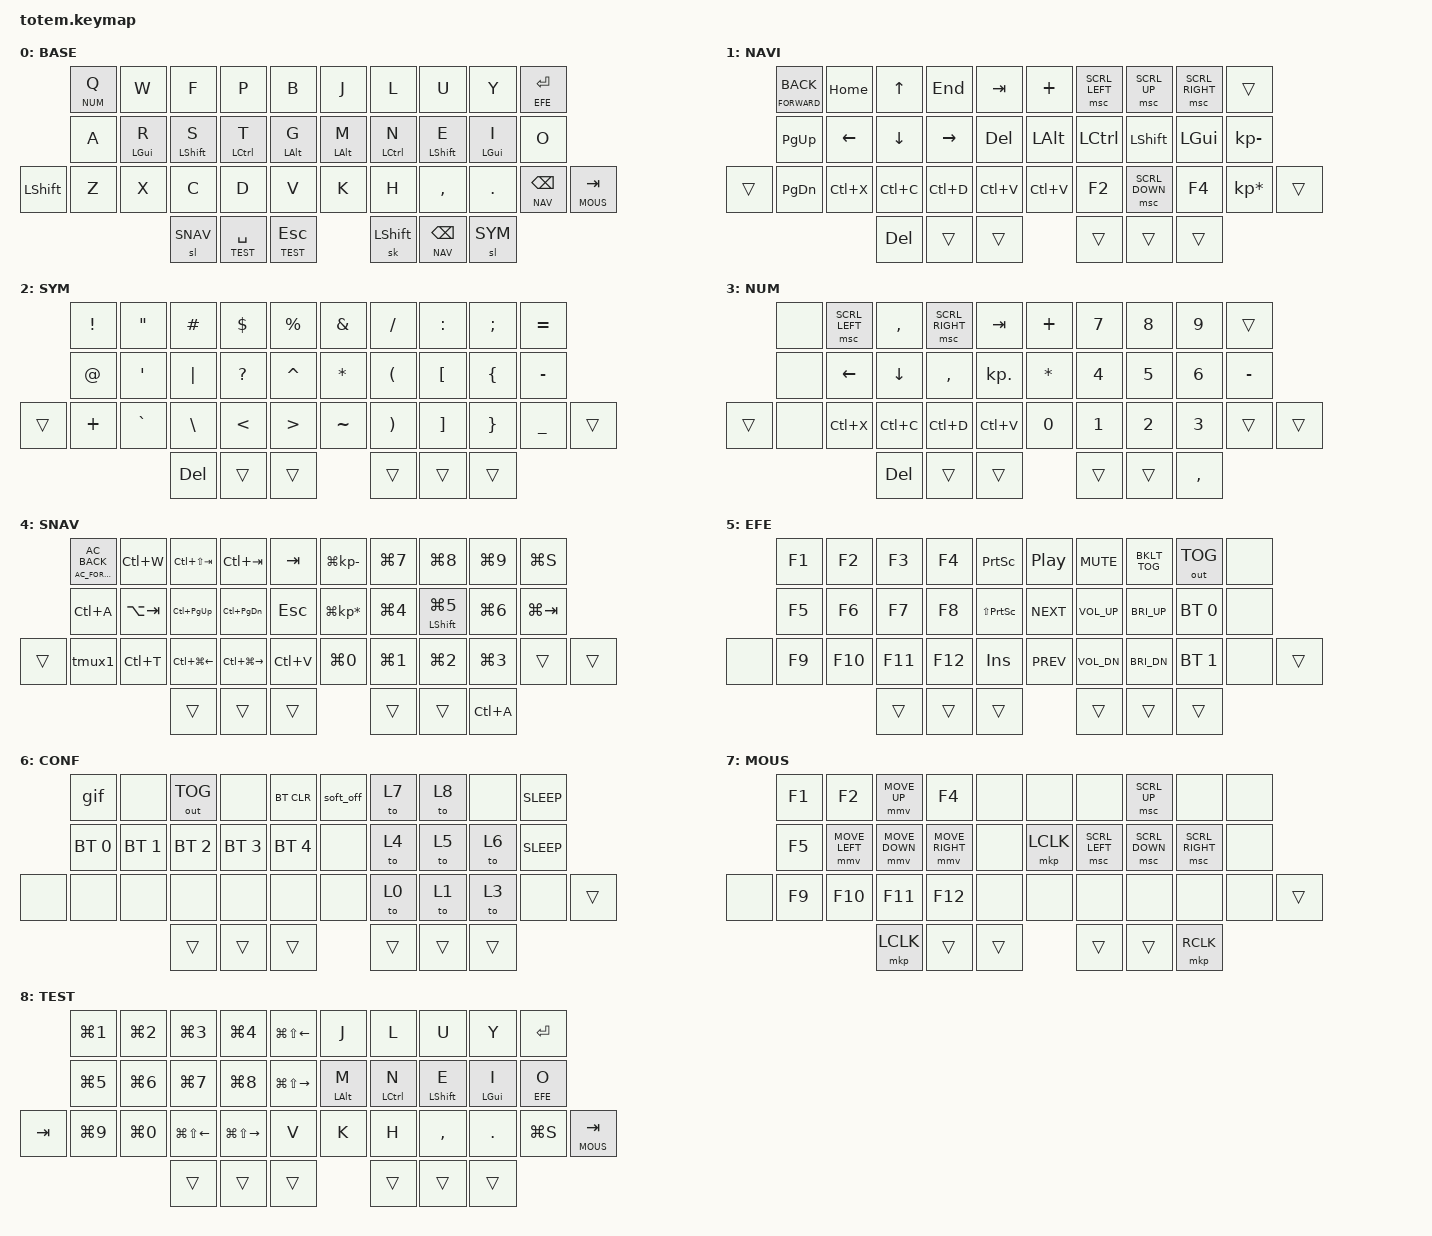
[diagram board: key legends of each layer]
//
//                                                        ▀▀▀▀▀     ▀▀▀▀▀          ▀▀█▀▀
//                                                        ▄▀▀▀▄  ▄  ▄▀▀▀▄  ▄  ▄▀▀▀▄  █  ▄▀▀▀▄
//                                                        █   █  █  █   █  █  █   █  █  █   █
//                                                         ▀▀▀   █   ▀▀▀   █   ▀▀▀   ▀   ▀▀▀
//                                                               █      ▄▄▄█▄▄▄    █   █  
//                                                               ▀      █  █  █     █▄█
//                                                             ▀▀▀▀▀    █  █  █      ▀
//                                                                      ▀  ▀  ▀
//
// ▄▄▄▄▄▄▄▄▄▄▄▄▄▄▄▄▄▄▄▄▄▄▄▄▄▄▄▄▄▄▄▄▄▄▄▄▄▄▄▄▄▄▄▄▄▄▄▄▄▄▄▄▄▄▄▄▄▄▄▄▄▄▄▄▄▄▄▄▄▄▄▄▄▄▄▄▄▄▄▄▄▄▄▄▄▄▄▄▄▄▄▄▄▄▄▄▄▄▄▄▄▄▄▄▄▄▄▄▄▄▄▄▄▄▄▄▄▄▄▄▄▄▄▄▄▄▄▄▄▄▄▄▄▄▄▄▄▄▄▄▄▄▄▄▄▄▄▄▄
       


#define ZMK_POINTING_DEFAULT_MOVE_VAL 1500  // default: 600
#define ZMK_POINTING_DEFAULT_SCRL_VAL 20    // default: 10

#include <behaviors.dtsi>
#include <dt-bindings/zmk/keys.h>
#include <dt-bindings/zmk/bt.h>
#include <dt-bindings/zmk/outputs.h>
#include <dt-bindings/zmk/pointing.h>

#define BASE 0
#define NAV  1
#define SYM  2
#define NUM  3
#define SNAV 4
#define EFE  5
#define CONF 6
#define MOUS 7
#define TEST 8

&mt {
  quick-tap-ms = <150>;
  flavor = "balanced";
  tapping-term-ms = <180>;
};

&lt {
  quick-tap-ms = <150>;
  flavor = "balanced";
  tapping-term-ms = <170>;
};

&sk {
    release-after-ms = <2000>;
    quick-release;
    lazy;
};

&sl {
    release-after-ms = <500>;
    //lazy;
};

/ {
    
    //kscan: kscan {
    //    compatible = "zmk,kscan-gpio-matrix";
    //    diode-direction = "col2row";
    //    wakeup-source;
    //};

    combos {
        compatible = "zmk,combos";
        combo_config {
            timeout-ms = <50>;
            key-positions = <32 37>;
            bindings = <&sl CONF>;
        };
        combo_sleep {
            timeout-ms = <50>;
            key-positions = <33 36>;
            bindings = <&sleep>;
            layers = <CONF>;
        };
        combo_scratchpad {
            timeout-ms = <13>;
            key-positions = <11 12>;
            bindings = <&kp LG(S)>;
            layers = <BASE>;
        };
        combo_save {
            timeout-ms = <10>;
            key-positions = <33 36>;
            bindings = <&kp LC(S)>;
            layers = <BASE>;
        };
        /* combo_cbackspace { */
        /*     timeout-ms = <10>; */
        /*     key-positions = <16 36>; */
        /*     bindings = <&kp LC(BSPC)>; */
        /*     layers = <BASE>; */
        /* }; */
        combo_switchtmuxsession {
            timeout-ms = <12>;
            key-positions = <1 2>;
            bindings = <&tmux2>;
            layers = <BASE>;
        };
    };

    macros {
        gif: gif {
            label = "giphy";
            compatible = "zmk,behavior-macro";
            #binding-cells = <0>;
            bindings
                = <&macro_tap &kp A &kp S &kp D &kp Q &kp W &kp E &kp A &kp S &kp D>
                , <&macro_tap &kp ENTER>;
        };
        sleep: sleep {
            compatible = "zmk,behavior-macro";
            #binding-cells = <0>;
            bindings
                = <&macro_tap &kp K_SLEEP &soft_off>
                ;
        };
        tmux1: tmux1 {
            compatible = "zmk,behavior-macro";
            #binding-cells = <0>;
            bindings
                = <&macro_tap &kp LC(A) &kp LS(L)>
                ;
        };
        tmux2: tmux2 {
            compatible = "zmk,behavior-macro";
            #binding-cells = <0>;
            bindings
                = <&macro_tap &kp LC(A) &kp S &sl NUM>
                ;
        };
    };

    behaviors {
        td0: tap_dance_0 {
            compatible = "zmk,behavior-tap-dance";
            #binding-cells = <0>;
            tapping-term-ms = <200>;
            bindings = <&kp N1>, <&kp N2>, <&kp N3>;
        };
        rpi: require_prior_idle {
            compatible = "zmk,behavior-hold-tap";
            #binding-cells = <2>;
            flavor = "tap-preferred";
            tapping-term-ms = <200>;
            quick-tap-ms = <200>;
            require-prior-idle-ms = <125>;
            bindings = <&kp>, <&kp>;
        };
    };

    keymap {
                compatible = "zmk,keymap";
// ▄▄▄▄▄▄▄▄▄▄▄▄▄▄▄▄▄▄▄▄▄▄▄▄▄▄▄▄▄▄▄▄▄▄▄▄▄▄▄▄▄▄▄▄▄▄▄▄▄▄▄▄▄▄▄▄▄▄▄▄▄▄▄▄▄▄▄▄▄▄▄▄▄▄▄▄▄▄▄▄▄▄▄▄▄▄▄▄▄▄▄▄▄▄▄▄▄▄▄▄▄▄▄▄▄▄▄▄▄▄▄▄▄▄▄▄▄▄▄▄▄▄▄▄▄▄▄▄▄▄▄▄▄▄▄▄▄▄▄▄▄▄▄▄▄▄▄▄▄

                base_layer {
// ┏━━━━━━━━━━━━━━━━━━━━━━━━━━━━━━━━━━━━━━━┓0
label= "BASE"                              ;
// ┗━━━━━━━━━━━━━━━━━━━━━━━━━━━━━━━━━━━━━━━┛
//             ┏━━━━━━━━━━━┳━━━━━━━━━━━┳━━━━━━━━━━━┳━━━━━━━━━━━┳━━━━━━━━━━━┓   ┏━━━━━━━━━━━┳━━━━━━━━━━━┳━━━━━━━━━━━┳━━━━━━━━━━━┳━━━━━━━━━━━┓
//             ┃     0     ┃     1     ┃     2     ┃     3     ┃     4     ┃   ┃     5     ┃     6     ┃     7     ┃     8     ┃     9     ┃
//             ┣━━━━━━━━━━━╋━━━━━━━━━━━╋━━━━━━━━━━━╋━━━━━━━━━━━╋━━━━━━━━━━━┫   ┣━━━━━━━━━━━╋━━━━━━━━━━━╋━━━━━━━━━━━╋━━━━━━━━━━━╋━━━━━━━━━━━┫
//             ┃    10     ┃     11    ┃     12    ┃     13    ┃     14    ┃   ┃     15    ┃     16    ┃     17    ┃     18    ┃     19    ┃
// ┏━━━━━━━━━━━╋━━━━━━━━━━━╋━━━━━━━━━━━╋━━━━━━━━━━━╋━━━━━━━━━━━╋━━━━━━━━━━━┫   ┣━━━━━━━━━━━╋━━━━━━━━━━━╋━━━━━━━━━━━╋━━━━━━━━━━━╋━━━━━━━━━━━╋━━━━━━━━━━━┓
// ┃     20    ┃     21    ┃     22    ┃     23    ┃    24     ┃    25     ┃   ┃     26    ┃     M     ┃     ,     ┃     .     ┃     /     ┃    31     ┃
// ┗━━━━━━━━━━━┻━━━━━━━━━━━┻━━━━━━━━━━━╋━━━━━━━━━━━╋━━━━━━━━━━━╋━━━━━━━━━━━┫   ┣━━━━━━━━━━━╋━━━━━━━━━━━╋━━━━━━━━━━━╋━━━━━━━━━━━┻━━━━━━━━━━━┻━━━━━━━━━━━┛
//                                     ┃    32     ┃    33     ┃    34     ┃   ┃     35    ┃     36    ┃     37    ┃
//                                     ┗━━━━━━━━━━━┻━━━━━━━━━━━┻━━━━━━━━━━━┛   ┗━━━━━━━━━━━┻━━━━━━━━━━━┻━━━━━━━━━━━┛
 bindings = <
// ╷           ╷           ╷           ╷           ╷           ╷           ╷   ╷           ╷           ╷           ╷           ╷           ╷           ╷
                &lt NUM Q   &kp W       &kp F       &kp P       &kp B           &kp J       &kp L       &kp U       &kp Y       &lt EFE RET
                &kp A       &mt LGUI R  &mt LSHFT S &mt LCTRL T &mt LALT G      &mt LALT M  &mt LCTRL N &mt LSHFT E &mt LGUI I  &kp O
    &kp LSHFT   &kp Z       &kp X       &kp C       &kp D       &kp V           &kp K       &kp H       &kp COMMA   &kp DOT     &lt NAV BSPC    &lt MOUS TAB
                                        &sl SNAV    &lt TEST SPACE   &lt TEST ESC     &sk LSHFT   &lt NAV BSPC &sl SYM
                        >;
                };

// ▄▄▄▄▄▄▄▄▄▄▄▄▄▄▄▄▄▄▄▄▄▄▄▄▄▄▄▄▄▄▄▄▄▄▄▄▄▄▄▄▄▄▄▄▄▄▄▄▄▄▄▄▄▄▄▄▄▄▄▄▄▄▄▄▄▄▄▄▄▄▄▄▄▄▄▄▄▄▄▄▄▄▄▄▄▄▄▄▄▄▄▄▄▄▄▄▄▄▄▄▄▄▄▄▄▄▄▄▄▄▄▄▄▄▄▄▄▄▄▄▄▄▄▄▄▄▄▄▄▄▄▄▄▄▄▄▄▄▄▄▄▄▄▄▄▄▄▄▄

                nav_layer {
// ┏━━━━━━━━━━━━━━━━━━━━━━━━━━━━━━━━━━━━━━━┓1
label= "NAVI"                              ;
// ┗━━━━━━━━━━━━━━━━━━━━━━━━━━━━━━━━━━━━━━━┛
//             ┏━━━━━━━━━━━┳━━━━━━━━━━━┳━━━━━━━━━━━┳━━━━━━━━━━━┳━━━━━━━━━━━┓   ┏━━━━━━━━━━━┳━━━━━━━━━━━┳━━━━━━━━━━━┳━━━━━━━━━━━┳━━━━━━━━━━━┓
//             ┃           ┃           ┃     UP    ┃           ┃     {     ┃   ┃     }     ┃     7     ┃     8     ┃     9     ┃     +     ┃
//             ┣━━━━━━━━━━━╋━━━━━━━━━━━╋━━━━━━━━━━━╋━━━━━━━━━━━╋━━━━━━━━━━━┫   ┣━━━━━━━━━━━╋━━━━━━━━━━━╋━━━━━━━━━━━╋━━━━━━━━━━━╋━━━━━━━━━━━┫
//             ┃   SHIFT   ┃   LEFT    ┃    DOWN   ┃   RIGHT   ┃     [     ┃   ┃     ]     ┃     4     ┃     5     ┃     6     ┃     -     ┃
// ┏━━━━━━━━━━━╋━━━━━━━━━━━╋━━━━━━━━━━━╋━━━━━━━━━━━╋━━━━━━━━━━━╋━━━━━━━━━━━┫   ┣━━━━━━━━━━━╋━━━━━━━━━━━╋━━━━━━━━━━━╋━━━━━━━━━━━╋━━━━━━━━━━━╋━━━━━━━━━━━┓
// ┃           ┃           ┃   P UP    ┃  C LOCK   ┃  P DOWN   ┃     (     ┃   ┃     )     ┃     1     ┃     2     ┃     3     ┃     *     ┃           ┃
// ┗━━━━━━━━━━━┻━━━━━━━━━━━┻━━━━━━━━━━━╋━━━━━━━━━━━╋━━━━━━━━━━━╋━━━━━━━━━━━┫   ┣━━━━━━━━━━━╋━━━━━━━━━━━╋━━━━━━━━━━━╋━━━━━━━━━━━┻━━━━━━━━━━━┻━━━━━━━━━━━┛
//                                     ┃           ┃    TAB    ┃    SPC    ┃   ┃    DEL    ┃     0     ┃           ┃
//                                     ┗━━━━━━━━━━━┻━━━━━━━━━━━┻━━━━━━━━━━━┛   ┗━━━━━━━━━━━┻━━━━━━━━━━━┻━━━━━━━━━━━┛
 bindings = <
// ╷           ╷           ╷           ╷           ╷           ╷           ╷   ╷           ╷           ╷           ╷           ╷           ╷           ╷
                &rpi K_FORWARD K_BACK   &kp HOME &kp UP &kp END &kp TAB         &kp PLUS    &msc SCRL_LEFT &msc SCRL_UP &msc SCRL_RIGHT &trans
                &kp PG_UP   &kp LEFT    &kp DOWN    &kp RIGHT   &kp DEL         &kp LALT    &kp LCTRL   &kp LSHFT  &kp LGUI     &kp KP_MINUS
    &trans      &kp PG_DN   &kp LC(X)   &kp LC(C)   &kp LC(D)   &kp LC(V)       &kp LC(V)   &kp F2      &msc SCRL_DOWN &kp F4   &kp KP_MULTIPLY &trans
                                        &kp DEL     &trans      &trans          &trans      &trans      &trans
                        >;
                };

// ▄▄▄▄▄▄▄▄▄▄▄▄▄▄▄▄▄▄▄▄▄▄▄▄▄▄▄▄▄▄▄▄▄▄▄▄▄▄▄▄▄▄▄▄▄▄▄▄▄▄▄▄▄▄▄▄▄▄▄▄▄▄▄▄▄▄▄▄▄▄▄▄▄▄▄▄▄▄▄▄▄▄▄▄▄▄▄▄▄▄▄▄▄▄▄▄▄▄▄▄▄▄▄▄▄▄▄▄▄▄▄▄▄▄▄▄▄▄▄▄▄▄▄▄▄▄▄▄▄▄▄▄▄▄▄▄▄▄▄▄▄▄▄▄▄▄▄▄▄


                sim_layer {
// ┏━━━━━━━━━━━━━━━━━━━━━━━━━━━━━━━━━━━━━━━┓2
label= "SYM"                               ;
// ┗━━━━━━━━━━━━━━━━━━━━━━━━━━━━━━━━━━━━━━━┛
//             ┏━━━━━━━━━━━┳━━━━━━━━━━━┳━━━━━━━━━━━┳━━━━━━━━━━━┳━━━━━━━━━━━┓   ┏━━━━━━━━━━━┳━━━━━━━━━━━┳━━━━━━━━━━━┳━━━━━━━━━━━┳━━━━━━━━━━━┓
//             ┃     !     ┃     @     ┃     #     ┃     $     ┃     %     ┃   ┃     ˆ     ┃     &     ┃     Ü     ┃     '     ┃     "     ┃
//             ┣━━━━━━━━━━━╋━━━━━━━━━━━╋━━━━━━━━━━━╋━━━━━━━━━━━╋━━━━━━━━━━━┫   ┣━━━━━━━━━━━╋━━━━━━━━━━━╋━━━━━━━━━━━╋━━━━━━━━━━━╋━━━━━━━━━━━┫
//             ┃     Ä     ┃           ┃    SZ     ┃           ┃           ┃   ┃   MUTE    ┃   YEN     ┃   EURO    ┃  POUND    ┃     Ö     ┃
// ┏━━━━━━━━━━━╋━━━━━━━━━━━╋━━━━━━━━━━━╋━━━━━━━━━━━╋━━━━━━━━━━━╋━━━━━━━━━━━┫   ┣━━━━━━━━━━━╋━━━━━━━━━━━╋━━━━━━━━━━━╋━━━━━━━━━━━╋━━━━━━━━━━━╋━━━━━━━━━━━┓
// ┃           ┃  EMAIL1   ┃  EMAIL2   ┃           ┃           ┃           ┃   ┃   VOL-    ┃   VOL+    ┃   LAST    ┃   NEXT    ┃     \     ┃           ┃
// ┗━━━━━━━━━━━┻━━━━━━━━━━━┻━━━━━━━━━━━╋━━━━━━━━━━━╋━━━━━━━━━━━╋━━━━━━━━━━━┫   ┣━━━━━━━━━━━╋━━━━━━━━━━━╋━━━━━━━━━━━╋━━━━━━━━━━━┻━━━━━━━━━━━┻━━━━━━━━━━━┛
//                                     ┃           ┃    GIF    ┃    ADJ    ┃   ┃           ┃           ┃           ┃
//                                     ┗━━━━━━━━━━━┻━━━━━━━━━━━┻━━━━━━━━━━━┛   ┗━━━━━━━━━━━┻━━━━━━━━━━━┻━━━━━━━━━━━┛
 bindings = <
// ╷           ╷           ╷           ╷           ╷           ╷           ╷   ╷           ╷           ╷           ╷           ╷           ╷           ╷
                &kp EXCL    &kp DQT     &kp HASH    &kp DOLLAR  &kp PRCNT       &kp AMPS    &kp FSLH    &kp COLON  &kp SEMI    &kp EQUAL
                &kp AT      &kp SQT     &kp PIPE    &kp QMARK   &kp CARET       &kp ASTRK   &kp LPAR    &kp LBKT   &kp LBRC    &kp MINUS
    &trans      &kp PLUS    &kp GRAVE   &kp BSLH    &kp LT      &kp GT          &kp TILDE   &kp RPAR    &kp RBKT   &kp RBRC    &kp UNDER   &trans
                                        &kp DEL     &trans      &trans          &trans      &trans      &trans
                        >;
                };

// ▄▄▄▄▄▄▄▄▄▄▄▄▄▄▄▄▄▄▄▄▄▄▄▄▄▄▄▄▄▄▄▄▄▄▄▄▄▄▄▄▄▄▄▄▄▄▄▄▄▄▄▄▄▄▄▄▄▄▄▄▄▄▄▄▄▄▄▄▄▄▄▄▄▄▄▄▄▄▄▄▄▄▄▄▄▄▄▄▄▄▄▄▄▄▄▄▄▄▄▄▄▄▄▄▄▄▄▄▄▄▄▄▄▄▄▄▄▄▄▄▄▄▄▄▄▄▄▄▄▄▄▄▄▄▄▄▄▄▄▄▄▄▄▄▄▄▄▄▄


                adjust_layer {
// ┏━━━━━━━━━━━━━━━━━━━━━━━━━━━━━━━━━━━━━━━┓3
label= "NUM"                               ;
// ┗━━━━━━━━━━━━━━━━━━━━━━━━━━━━━━━━━━━━━━━┛
//             ┏━━━━━━━━━━━┳━━━━━━━━━━━┳━━━━━━━━━━━┳━━━━━━━━━━━┳━━━━━━━━━━━┓   ┏━━━━━━━━━━━┳━━━━━━━━━━━┳━━━━━━━━━━━┳━━━━━━━━━━━┳━━━━━━━━━━━┓
//             ┃   RESET   ┃ BT CLEAR  ┃  OUT TOG  ┃           ┃           ┃   ┃           ┃    F7     ┃    F8     ┃    F9     ┃    F12    ┃
//             ┣━━━━━━━━━━━╋━━━━━━━━━━━╋━━━━━━━━━━━╋━━━━━━━━━━━╋━━━━━━━━━━━┫   ┣━━━━━━━━━━━╋━━━━━━━━━━━╋━━━━━━━━━━━╋━━━━━━━━━━━╋━━━━━━━━━━━┫
//             ┃ BOOTLOAD  ┃ BT NEXT   ┃           ┃           ┃           ┃   ┃           ┃    F4     ┃    F5     ┃    F6     ┃    F11    ┃
// ┏━━━━━━━━━━━╋━━━━━━━━━━━╋━━━━━━━━━━━╋━━━━━━━━━━━╋━━━━━━━━━━━╋━━━━━━━━━━━┫   ┣━━━━━━━━━━━╋━━━━━━━━━━━╋━━━━━━━━━━━╋━━━━━━━━━━━╋━━━━━━━━━━━╋━━━━━━━━━━━┓
// ┃           ┃           ┃ BT PREV   ┃           ┃           ┃           ┃   ┃           ┃    F1     ┃    F2     ┃    F3     ┃    F10    ┃           ┃
// ┗━━━━━━━━━━━┻━━━━━━━━━━━┻━━━━━━━━━━━╋━━━━━━━━━━━╋━━━━━━━━━━━╋━━━━━━━━━━━┫   ┣━━━━━━━━━━━╋━━━━━━━━━━━╋━━━━━━━━━━━╋━━━━━━━━━━━┻━━━━━━━━━━━┻━━━━━━━━━━━┛
//                                     ┃           ┃           ┃           ┃   ┃           ┃           ┃           ┃
//                                     ┗━━━━━━━━━━━┻━━━━━━━━━━━┻━━━━━━━━━━━┛   ┗━━━━━━━━━━━┻━━━━━━━━━━━┻━━━━━━━━━━━┛
 bindings = <
// ╷           ╷           ╷           ╷           ╷           ╷           ╷   ╷           ╷           ╷           ╷           ╷           ╷           ╷
                &none       &msc SCRL_LEFT &kp COMMA &msc SCRL_RIGHT &kp TAB         &kp PLUS    &kp N7      &kp N8     &kp N9       &trans
                &none       &kp LEFT    &kp DOWN    &kp COMMA   &kp KP_DOT      &kp ASTRK   &kp N4      &kp N5     &kp N6       &kp MINUS
    &trans      &none       &kp LC(X)   &kp LC(C)   &kp LC(D)   &kp LC(V)       &kp N0      &kp N1      &kp N2     &kp N3       &trans          &trans
                                        &kp DEL     &trans      &trans          &trans      &trans      &kp COMMA
                        >;
                };

// ▄▄▄▄▄▄▄▄▄▄▄▄▄▄▄▄▄▄▄▄▄▄▄▄▄▄▄▄▄▄▄▄▄▄▄▄▄▄▄▄▄▄▄▄▄▄▄▄▄▄▄▄▄▄▄▄▄▄▄▄▄▄▄▄▄▄▄▄▄▄▄▄▄▄▄▄▄▄▄▄▄▄▄▄▄▄▄▄▄▄▄▄▄▄▄▄▄▄▄▄▄▄▄▄▄▄▄▄▄▄▄▄▄▄▄▄▄▄▄▄▄▄▄▄▄▄▄▄▄▄▄▄▄▄▄▄▄▄▄▄▄▄▄▄▄▄▄▄▄


                tvp1_layer {
// ┏━━━━━━━━━━━━━━━━━━━━━━━━━━━━━━━━━━━━━━━┓4
label= "SNAV"                             ;
// ┗━━━━━━━━━━━━━━━━━━━━━━━━━━━━━━━━━━━━━━━┛
//             ┏━━━━━━━━━━━┳━━━━━━━━━━━┳━━━━━━━━━━━┳━━━━━━━━━━━┳━━━━━━━━━━━┓   ┏━━━━━━━━━━━┳━━━━━━━━━━━┳━━━━━━━━━━━┳━━━━━━━━━━━┳━━━━━━━━━━━┓
//             ┃ NEXT FILE ┃ MARK IN   ┃ ROTATE    ┃ MARK OUT  ┃ SHOW SNAP ┃   ┃           ┃           ┃           ┃           ┃           ┃
//             ┣━━━━━━━━━━━╋━━━━━━━━━━━╋━━━━━━━━━━━╋━━━━━━━━━━━╋━━━━━━━━━━━┫   ┣━━━━━━━━━━━╋━━━━━━━━━━━╋━━━━━━━━━━━╋━━━━━━━━━━━╋━━━━━━━━━━━┫
//             ┃ TVP II    ┃ LEFT      ┃ PAN       ┃ RIGHT     ┃ PLAY/FLIP ┃   ┃           ┃           ┃           ┃           ┃           ┃
// ┏━━━━━━━━━━━╋━━━━━━━━━━━╋━━━━━━━━━━━╋━━━━━━━━━━━╋━━━━━━━━━━━╋━━━━━━━━━━━┫   ┣━━━━━━━━━━━╋━━━━━━━━━━━╋━━━━━━━━━━━╋━━━━━━━━━━━╋━━━━━━━━━━━╋━━━━━━━━━━━┓
// ┃ FULLSCR   ┃ SHIFT     ┃ COPY      ┃ DELETE    ┃ PASTE     ┃ IMG MARK  ┃   ┃           ┃           ┃           ┃           ┃           ┃           ┃
// ┗━━━━━━━━━━━┻━━━━━━━━━━━┻━━━━━━━━━━━╋━━━━━━━━━━━╋━━━━━━━━━━━╋━━━━━━━━━━━┫   ┣━━━━━━━━━━━╋━━━━━━━━━━━╋━━━━━━━━━━━╋━━━━━━━━━━━┻━━━━━━━━━━━┻━━━━━━━━━━━┛
//                                     ┃           ┃ UNDO/SAVE ┃  SEL/MOV  ┃   ┃           ┃           ┃           ┃
//                                     ┗━━━━━━━━━━━┻━━━━━━━━━━━┻━━━━━━━━━━━┛   ┗━━━━━━━━━━━┻━━━━━━━━━━━┻━━━━━━━━━━━┛
 bindings = <
// ╷           ╷           ╷           ╷           ╷           ╷           ╷   ╷           ╷           ╷           ╷           ╷           ╷           ╷
     &rpi C_AC_FORWARD C_AC_BACK &kp LC(W)   &kp LC(LS(TAB)) &kp LC(TAB) &kp TAB      &kp LG(KP_MINUS) &kp LG(N7) &kp LG(N8) &kp LG(N9) &kp LG(S)
               &kp LC(A) &kp LA(TAB) &kp LC(PG_UP) &kp LC(PG_DN) &kp ESC        &kp LG(KP_MULTIPLY) &kp LG(N4) &mt LSHFT LG(N5) &kp LG(N6) &kp LG(TAB)
    &trans     &tmux1      &kp LC(T)   &kp LC(LG(LEFT)) &kp LC(LG(RIGHT)) &kp LC(V) &kp LG(N0) &kp LG(N1) &kp LG(N2) &kp LG(N3) &trans      &trans
                                       &trans       &trans      &trans          &trans    &trans     &kp LC(A)
                        >;
                };

// ▄▄▄▄▄▄▄▄▄▄▄▄▄▄▄▄▄▄▄▄▄▄▄▄▄▄▄▄▄▄▄▄▄▄▄▄▄▄▄▄▄▄▄▄▄▄▄▄▄▄▄▄▄▄▄▄▄▄▄▄▄▄▄▄▄▄▄▄▄▄▄▄▄▄▄▄▄▄▄▄▄▄▄▄▄▄▄▄▄▄▄▄▄▄▄▄▄▄▄▄▄▄▄▄▄▄▄▄▄▄▄▄▄▄▄▄▄▄▄▄▄▄▄▄▄▄▄▄▄▄▄▄▄▄▄▄▄▄▄▄▄▄▄▄▄▄▄▄▄


                tvp2_layer {
// ┏━━━━━━━━━━━━━━━━━━━━━━━━━━━━━━━━━━━━━━━┓5
label= "EFE"                             ;
// ┗━━━━━━━━━━━━━━━━━━━━━━━━━━━━━━━━━━━━━━━┛
//             ┏━━━━━━━━━━━┳━━━━━━━━━━━┳━━━━━━━━━━━┳━━━━━━━━━━━┳━━━━━━━━━━━┓   ┏━━━━━━━━━━━┳━━━━━━━━━━━┳━━━━━━━━━━━┳━━━━━━━━━━━┳━━━━━━━━━━━┓
//             ┃ SOLO      ┃ TOGGLE IN ┃ RESET ROT ┃ TOGGLE OUT┃ TAKE SNAP ┃   ┃           ┃           ┃           ┃           ┃           ┃
//             ┣━━━━━━━━━━━╋━━━━━━━━━━━╋━━━━━━━━━━━╋━━━━━━━━━━━╋━━━━━━━━━━━┫   ┣━━━━━━━━━━━╋━━━━━━━━━━━╋━━━━━━━━━━━╋━━━━━━━━━━━╋━━━━━━━━━━━┫
//             ┃ ---       ┃ LAST KEY  ┃ NEW KEY   ┃ NEXT KEY  ┃ ENTER     ┃   ┃           ┃           ┃           ┃           ┃           ┃
// ┏━━━━━━━━━━━╋━━━━━━━━━━━╋━━━━━━━━━━━╋━━━━━━━━━━━╋━━━━━━━━━━━╋━━━━━━━━━━━┫   ┣━━━━━━━━━━━╋━━━━━━━━━━━╋━━━━━━━━━━━╋━━━━━━━━━━━╋━━━━━━━━━━━╋━━━━━━━━━━━┓
// ┃           ┃ FULLSCR   ┃ CPY2BRUSH ┃ DEL HEAD  ┃ PSTinPLACE┃ BOOK MARK ┃   ┃           ┃           ┃           ┃           ┃           ┃           ┃
// ┗━━━━━━━━━━━┻━━━━━━━━━━━┻━━━━━━━━━━━╋━━━━━━━━━━━╋━━━━━━━━━━━╋━━━━━━━━━━━┫   ┣━━━━━━━━━━━╋━━━━━━━━━━━╋━━━━━━━━━━━╋━━━━━━━━━━━┻━━━━━━━━━━━┻━━━━━━━━━━━┛
//                                     ┃           ┃ REDO/SAV1 ┃TRANS/WARP ┃   ┃           ┃           ┃           ┃
//                                     ┗━━━━━━━━━━━┻━━━━━━━━━━━┻━━━━━━━━━━━┛   ┗━━━━━━━━━━━┻━━━━━━━━━━━┻━━━━━━━━━━━┛
 bindings = <
// ╷           ╷           ╷           ╷           ╷           ╷           ╷   ╷           ╷           ╷           ╷           ╷           ╷           ╷
                &kp F1     &kp F2      &kp F3       &kp F4      &kp PSCRN       &kp C_PP    &kp C_MUTE &kp C_BKLT_TOG &out OUT_TOG &none
                &kp F5     &kp F6      &kp F7       &kp F8      &kp LS(PSCRN)   &kp C_NEXT  &kp C_VOL_UP &kp C_BRI_UP &bt BT_SEL 0 &none
    &none       &kp F9     &kp F10     &kp F11      &kp F12     &kp INS         &kp C_PREV  &kp C_VOL_DN &kp C_BRI_DN &bt BT_SEL 1 &none      &trans
                                       &trans       &trans      &trans          &trans      &trans       &trans
                        >;
                };

// ▄▄▄▄▄▄▄▄▄▄▄▄▄▄▄▄▄▄▄▄▄▄▄▄▄▄▄▄▄▄▄▄▄▄▄▄▄▄▄▄▄▄▄▄▄▄▄▄▄▄▄▄▄▄▄▄▄▄▄▄▄▄▄▄▄▄▄▄▄▄▄▄▄▄▄▄▄▄▄▄▄▄▄▄▄▄▄▄▄▄▄▄▄▄▄▄▄▄▄▄▄▄▄▄▄▄▄▄▄▄▄▄▄▄▄▄▄▄▄▄▄▄▄▄▄▄▄▄▄▄▄▄▄▄▄▄▄▄▄▄▄▄▄▄▄▄▄▄▄


                config {
// ┏━━━━━━━━━━━━━━━━━━━━━━━━━━━━━━━━━━━━━━━┓6
label= "CONF"                              ;
// ┗━━━━━━━━━━━━━━━━━━━━━━━━━━━━━━━━━━━━━━━┛
//             ┏━━━━━━━━━━━┳━━━━━━━━━━━┳━━━━━━━━━━━┳━━━━━━━━━━━┳━━━━━━━━━━━┓   ┏━━━━━━━━━━━┳━━━━━━━━━━━┳━━━━━━━━━━━┳━━━━━━━━━━━┳━━━━━━━━━━━┓
//             ┃ SOLO      ┃ TOGGLE IN ┃ RESET ROT ┃ TOGGLE OUT┃ TAKE SNAP ┃   ┃           ┃           ┃           ┃           ┃           ┃
//             ┣━━━━━━━━━━━╋━━━━━━━━━━━╋━━━━━━━━━━━╋━━━━━━━━━━━╋━━━━━━━━━━━┫   ┣━━━━━━━━━━━╋━━━━━━━━━━━╋━━━━━━━━━━━╋━━━━━━━━━━━╋━━━━━━━━━━━┫
//             ┃ ---       ┃ LAST KEY  ┃ NEW KEY   ┃ NEXT KEY  ┃ ENTER     ┃   ┃           ┃           ┃           ┃           ┃           ┃
// ┏━━━━━━━━━━━╋━━━━━━━━━━━╋━━━━━━━━━━━╋━━━━━━━━━━━╋━━━━━━━━━━━╋━━━━━━━━━━━┫   ┣━━━━━━━━━━━╋━━━━━━━━━━━╋━━━━━━━━━━━╋━━━━━━━━━━━╋━━━━━━━━━━━╋━━━━━━━━━━━┓
// ┃           ┃ FULLSCR   ┃ CPY2BRUSH ┃ DEL HEAD  ┃ PSTinPLACE┃ BOOK MARK ┃   ┃           ┃           ┃           ┃           ┃           ┃           ┃
// ┗━━━━━━━━━━━┻━━━━━━━━━━━┻━━━━━━━━━━━╋━━━━━━━━━━━╋━━━━━━━━━━━╋━━━━━━━━━━━┫   ┣━━━━━━━━━━━╋━━━━━━━━━━━╋━━━━━━━━━━━╋━━━━━━━━━━━┻━━━━━━━━━━━┻━━━━━━━━━━━┛
//                                     ┃           ┃ REDO/SAV1 ┃TRANS/WARP ┃   ┃           ┃           ┃           ┃
//                                     ┗━━━━━━━━━━━┻━━━━━━━━━━━┻━━━━━━━━━━━┛   ┗━━━━━━━━━━━┻━━━━━━━━━━━┻━━━━━━━━━━━┛
 bindings = <
// ╷           ╷           ╷           ╷           ╷           ╷           ╷   ╷           ╷           ╷           ╷           ╷           ╷           ╷
                &gif       &none        &out OUT_TOG &none      &bt BT_CLR      &soft_off    &to 7       &to 8      &none       &kp K_SLEEP
                &bt BT_SEL 0 &bt BT_SEL 1 &bt BT_SEL 2 &bt BT_SEL 3 &bt BT_SEL 4 &none       &to 4       &to 5      &to 6       &kp C_SLEEP
    &none       &none      &none        &none       &none       &none           &none        &to 0       &to 1      &to 3       &none      &trans
                                        &trans      &trans      &trans          &trans       &trans      &trans
                        >;
                };

// ▄▄▄▄▄▄▄▄▄▄▄▄▄▄▄▄▄▄▄▄▄▄▄▄▄▄▄▄▄▄▄▄▄▄▄▄▄▄▄▄▄▄▄▄▄▄▄▄▄▄▄▄▄▄▄▄▄▄▄▄▄▄▄▄▄▄▄▄▄▄▄▄▄▄▄▄▄▄▄▄▄▄▄▄▄▄▄▄▄▄▄▄▄▄▄▄▄▄▄▄▄▄▄▄▄▄▄▄▄▄▄▄▄▄▄▄▄▄▄▄▄▄▄▄▄▄▄▄▄▄▄▄▄▄▄▄▄▄▄▄▄▄▄▄▄▄▄▄▄


                mous_layer {
// ┏━━━━━━━━━━━━━━━━━━━━━━━━━━━━━━━━━━━━━━━┓7
label= "MOUS"                             ;
// ┗━━━━━━━━━━━━━━━━━━━━━━━━━━━━━━━━━━━━━━━┛
//             ┏━━━━━━━━━━━┳━━━━━━━━━━━┳━━━━━━━━━━━┳━━━━━━━━━━━┳━━━━━━━━━━━┓   ┏━━━━━━━━━━━┳━━━━━━━━━━━┳━━━━━━━━━━━┳━━━━━━━━━━━┳━━━━━━━━━━━┓
//             ┃ SOLO      ┃ TOGGLE IN ┃ RESET ROT ┃ TOGGLE OUT┃ TAKE SNAP ┃   ┃           ┃           ┃           ┃           ┃           ┃
//             ┣━━━━━━━━━━━╋━━━━━━━━━━━╋━━━━━━━━━━━╋━━━━━━━━━━━╋━━━━━━━━━━━┫   ┣━━━━━━━━━━━╋━━━━━━━━━━━╋━━━━━━━━━━━╋━━━━━━━━━━━╋━━━━━━━━━━━┫
//             ┃ ---       ┃ LAST KEY  ┃ NEW KEY   ┃ NEXT KEY  ┃ ENTER     ┃   ┃           ┃           ┃           ┃           ┃           ┃
// ┏━━━━━━━━━━━╋━━━━━━━━━━━╋━━━━━━━━━━━╋━━━━━━━━━━━╋━━━━━━━━━━━╋━━━━━━━━━━━┫   ┣━━━━━━━━━━━╋━━━━━━━━━━━╋━━━━━━━━━━━╋━━━━━━━━━━━╋━━━━━━━━━━━╋━━━━━━━━━━━┓
// ┃           ┃ FULLSCR   ┃ CPY2BRUSH ┃ DEL HEAD  ┃ PSTinPLACE┃ BOOK MARK ┃   ┃           ┃           ┃           ┃           ┃           ┃           ┃
// ┗━━━━━━━━━━━┻━━━━━━━━━━━┻━━━━━━━━━━━╋━━━━━━━━━━━╋━━━━━━━━━━━╋━━━━━━━━━━━┫   ┣━━━━━━━━━━━╋━━━━━━━━━━━╋━━━━━━━━━━━╋━━━━━━━━━━━┻━━━━━━━━━━━┻━━━━━━━━━━━┛
//                                     ┃           ┃ REDO/SAV1 ┃TRANS/WARP ┃   ┃           ┃           ┃           ┃
//                                     ┗━━━━━━━━━━━┻━━━━━━━━━━━┻━━━━━━━━━━━┛   ┗━━━━━━━━━━━┻━━━━━━━━━━━┻━━━━━━━━━━━┛
 bindings = <
// ╷           ╷           ╷           ╷           ╷           ╷           ╷   ╷           ╷           ╷           ╷           ╷           ╷           ╷
                &kp F1     &kp F2      &mmv MOVE_UP &kp F4 &none                &none       &none       &msc SCRL_UP &none    &none
                &kp F5  &mmv MOVE_LEFT &mmv MOVE_DOWN &mmv MOVE_RIGHT &none     &mkp LCLK &msc SCRL_LEFT &msc SCRL_DOWN &msc SCRL_RIGHT  &none
    &none       &kp F9     &kp F10     &kp F11      &kp F12     &none           &none       &none       &none        &none     &none       &trans
                                       &mkp LCLK    &trans      &trans          &trans      &trans      &mkp RCLK
                        >;
                };

// ▄▄▄▄▄▄▄▄▄▄▄▄▄▄▄▄▄▄▄▄▄▄▄▄▄▄▄▄▄▄▄▄▄▄▄▄▄▄▄▄▄▄▄▄▄▄▄▄▄▄▄▄▄▄▄▄▄▄▄▄▄▄▄▄▄▄▄▄▄▄▄▄▄▄▄▄▄▄▄▄▄▄▄▄▄▄▄▄▄▄▄▄▄▄▄▄▄▄▄▄▄▄▄▄▄▄▄▄▄▄▄▄▄▄▄▄▄▄▄▄▄▄▄▄▄▄▄▄▄▄▄▄▄▄▄▄▄▄▄▄▄▄▄▄▄▄▄▄▄

                test_layer {
// ┏━━━━━━━━━━━━━━━━━━━━━━━━━━━━━━━━━━━━━━━┓8
label= "TEST"                              ;
// ┗━━━━━━━━━━━━━━━━━━━━━━━━━━━━━━━━━━━━━━━┛
//             ┏━━━━━━━━━━━┳━━━━━━━━━━━┳━━━━━━━━━━━┳━━━━━━━━━━━┳━━━━━━━━━━━┓   ┏━━━━━━━━━━━┳━━━━━━━━━━━┳━━━━━━━━━━━┳━━━━━━━━━━━┳━━━━━━━━━━━┓
//             ┃     0     ┃     W     ┃     F     ┃     P     ┃     G     ┃   ┃     J     ┃     L     ┃     U     ┃     Y     ┃     9     ┃
//             ┣━━━━━━━━━━━╋━━━━━━━━━━━╋━━━━━━━━━━━╋━━━━━━━━━━━╋━━━━━━━━━━━┫   ┣━━━━━━━━━━━╋━━━━━━━━━━━╋━━━━━━━━━━━╋━━━━━━━━━━━╋━━━━━━━━━━━┫
//             ┃    10     ┃     11    ┃     12    ┃     13    ┃     14    ┃   ┃     15    ┃     16    ┃     17    ┃     18    ┃     19    ┃
// ┏━━━━━━━━━━━╋━━━━━━━━━━━╋━━━━━━━━━━━╋━━━━━━━━━━━╋━━━━━━━━━━━╋━━━━━━━━━━━┫   ┣━━━━━━━━━━━╋━━━━━━━━━━━╋━━━━━━━━━━━╋━━━━━━━━━━━╋━━━━━━━━━━━╋━━━━━━━━━━━┓
// ┃     20    ┃     Z     ┃     X     ┃     C     ┃     V     ┃     B     ┃   ┃     K     ┃     M     ┃     ,     ┃     .     ┃     /     ┃    31     ┃
// ┗━━━━━━━━━━━┻━━━━━━━━━━━┻━━━━━━━━━━━╋━━━━━━━━━━━╋━━━━━━━━━━━╋━━━━━━━━━━━┫   ┣━━━━━━━━━━━╋━━━━━━━━━━━╋━━━━━━━━━━━╋━━━━━━━━━━━┻━━━━━━━━━━━┻━━━━━━━━━━━┛
//                                     ┃    32     ┃    33     ┃    34     ┃   ┃     35    ┃     36    ┃     37    ┃
//                                     ┗━━━━━━━━━━━┻━━━━━━━━━━━┻━━━━━━━━━━━┛   ┗━━━━━━━━━━━┻━━━━━━━━━━━┻━━━━━━━━━━━┛
 bindings = <
// ╷           ╷           ╷           ╷           ╷           ╷           ╷   ╷           ╷           ╷           ╷           ╷           ╷           ╷
                &kp LG(N1)  &kp LG(N2) &kp LG(N3) &kp LG(N4)  &kp LG(LS(LEFT)) &kp J       &kp L       &kp U       &kp Y       &kp RET
                &kp LG(N5)  &kp LG(N6) &kp LG(N7) &kp LG(N8)  &kp LG(LS(RIGHT)) &mt LALT M  &mt LCTRL N &mt LSHFT E &mt LGUI I  &lt EFE O
    &kp TAB     &kp LG(N9)  &kp LG(N0) &kp LG(LS(LEFT)) &kp LG(LS(RIGHT)) &kp V           &kp K       &kp H       &kp COMMA   &kp DOT     &kp LG(S)   &lt MOUS TAB
                                       &trans      &trans      &trans          &trans       &trans      &trans
                        >;
                };



        };
};
